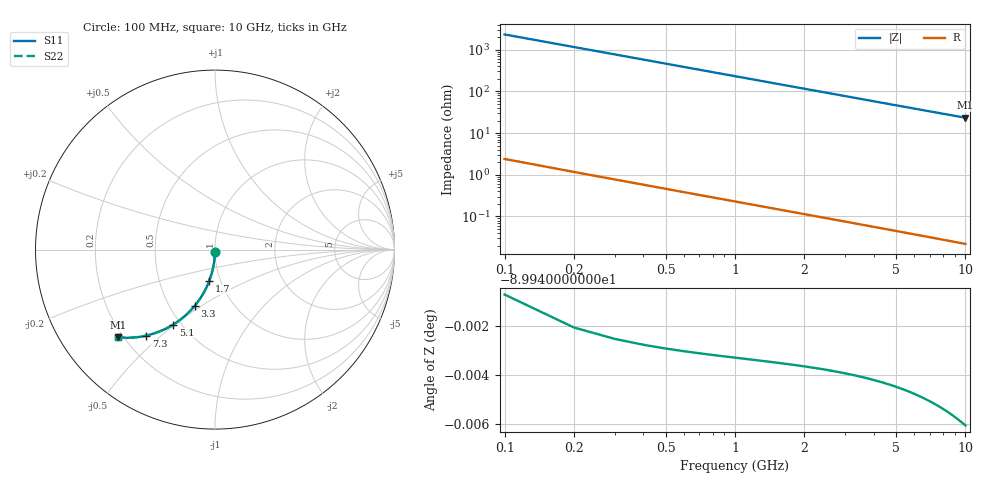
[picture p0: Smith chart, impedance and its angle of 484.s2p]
# Hz S RI R 50.00
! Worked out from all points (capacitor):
!   100 points, 100 MHz to 10 GHz, reference 50 ohm
!   read as one part in shunt: C = 688 fF near 100 MHz
!   lowest |Z| = 23.3 ohm at 10 GHz (marker M1)
!   S11 on the Smith chart (normalised r, x): 100 MHz: 1.00, -0.02; 1.7 GHz: 0.88, -0.32; 3.3 GHz: 0.67, -0.47; 5.1 GHz: 0.45, -0.49; 7.3 GHz: 0.29, -0.45; 10 GHz: 0.18, -0.37
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1e8  -7.87e-05 -0.0107  0.9998 -0.0109  0.9998 -0.0109  -7.87e-05 -0.0107
2e8  -0.000439 -0.0214  0.9995 -0.0218  0.9995 -0.0218  -0.000439 -0.0214
3e8  -0.00103 -0.0321  0.9989 -0.0327  0.9989 -0.0327  -0.00103 -0.0321
4e8  -0.00186 -0.0428  0.998 -0.0435  0.998 -0.0435  -0.00186 -0.0428
5e8  -0.00291 -0.0534  0.997 -0.0543  0.997 -0.0543  -0.00291 -0.0534
6e8  -0.0042 -0.064  0.9957 -0.0651  0.9957 -0.0651  -0.0042 -0.064
8e8  -0.00745 -0.0851  0.9924 -0.0865  0.9924 -0.0865  -0.00745 -0.0851
9e8  -0.00942 -0.0955  0.9905 -0.0972  0.9905 -0.0972  -0.00942 -0.0955
1.1e9  -0.014 -0.1162  0.9859 -0.1182  0.9859 -0.1182  -0.014 -0.1162
1.4e9  -0.0225 -0.1466  0.9774 -0.1491  0.9774 -0.1491  -0.0225 -0.1466
1.7e9  -0.0328 -0.1761  0.9671 -0.1792  0.9671 -0.1792  -0.0328 -0.1761
1.8e9  -0.0366 -0.1857  0.9633 -0.189  0.9633 -0.189  -0.0366 -0.1857
2.1e9  -0.0491 -0.2138  0.9508 -0.2176  0.9508 -0.2176  -0.0491 -0.2138
2.5e9  -0.0682 -0.2494  0.9317 -0.2539  0.9317 -0.2539  -0.0682 -0.2494
3.3e9  -0.113 -0.3132  0.8869 -0.3192  0.8869 -0.3192  -0.113 -0.3132
3.4e9  -0.1191 -0.3204  0.8807 -0.3266  0.8807 -0.3266  -0.1191 -0.3204
4.2e9  -0.171 -0.3723  0.8288 -0.3799  0.8288 -0.3799  -0.171 -0.3723
5.1e9  -0.2332 -0.4178  0.7666 -0.4271  0.7666 -0.4271  -0.2332 -0.4178
6.7e9  -0.3442 -0.4685  0.6556 -0.4807  0.6556 -0.4807  -0.3442 -0.4685
7.3e9  -0.3839 -0.4792  0.6159 -0.4925  0.6159 -0.4925  -0.3839 -0.4792
8.4e9  -0.4521 -0.4895  0.5477 -0.5049  0.5477 -0.5049  -0.4521 -0.4895
1e10  -0.5392 -0.4888  0.4605 -0.5071  0.4605 -0.5071  -0.5392 -0.4888
